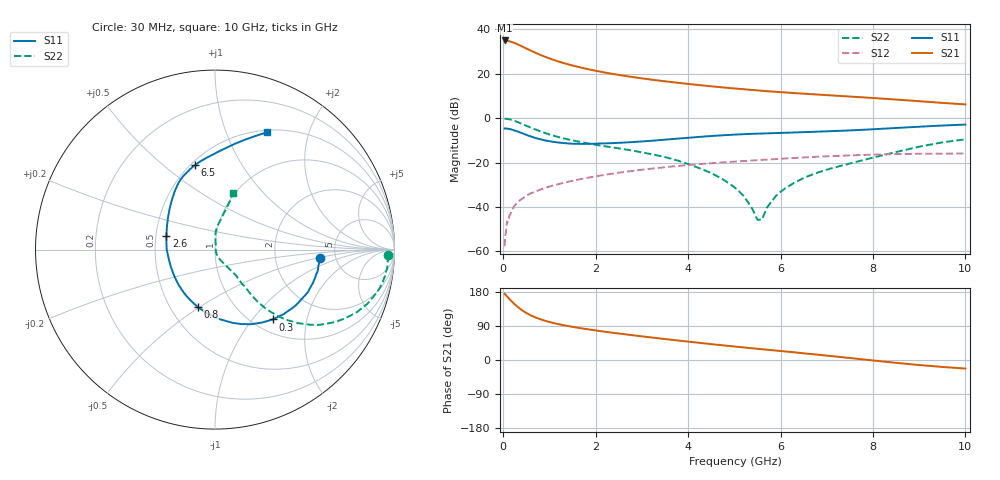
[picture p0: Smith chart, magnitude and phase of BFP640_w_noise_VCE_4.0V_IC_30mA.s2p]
! Infineon Technologies  Discrete & RF Semiconductors
! BFP640
! VCE =  4.0 V,  IC =  30 mA
! Common Emitter S-Parameters:  Apr 2013
# GHz  S  MA  R  50
!  f  S11  S21  S12  S22
! GHz  MAG  ANG  MAG  ANG  MAG  ANG  MAG  ANG
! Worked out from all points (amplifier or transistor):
!   99 points, 30 MHz to 10 GHz, reference 50 ohm
!   highest |S21| = 35.0 dB at 30 MHz (marker M1)
!   |S21| within 3 dB of that: start of sweep to 438.3 MHz
!   unconditionally stable (mu >= 1): 2.233 GHz to end of sweep
!   at 350 MHz: K = 0.39, MSG = 35.1 dB, |S12| = -37.2 dB
!   at 3.5 GHz: K = 1.05, MAG = 18.0 dB, |S12| = -22.1 dB
!   at 10 GHz: K = 1.06, MAG = 9.5 dB, |S12| = -15.9 dB
!   lowest NFmin = 1.07 dB at 450 MHz
!   S11 on the Smith chart (normalised r, x): 30 MHz: 3.74, -0.53; 300 MHz: 1.22, -1.27; 800 MHz: 0.68, -0.49; 2.6 GHz: 0.57, +0.09; 6.5 GHz: 0.53, +0.65; 10 GHz: 0.52, +1.41
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0.03  0.5849 -4.6  56.4 174.7  0.0013 65.8  0.9619 -1.9
0.08  0.5797 -14.1  55.42 168.2  0.0047 64.2  0.9588 -7.7
0.15  0.5643 -26.4  53.35 159.0  0.0066 74.0  0.9324 -14.9
0.25  0.5255 -43.0  49.2 146.8  0.0109 70.4  0.8647 -23.7
0.3  0.505 -50.4  46.64 141.5  0.012 70.1  0.8247 -27.4
0.4  0.4614 -64.3  41.74 132.0  0.015 67.3  0.7467 -33.6
0.5  0.4197 -76.5  37.18 124.2  0.0176 65.7  0.6738 -38.4
0.6  0.3855 -87.5  33.14 117.6  0.0203 63.9  0.6105 -42.0
0.7  0.3567 -97.4  29.7 112.3  0.0222 62.8  0.5545 -44.7
0.8  0.3345 -106.5  26.77 107.7  0.0244 61.9  0.5061 -46.7
1  0.3019 -122.7  22.21 100.4  0.0287 60.8  0.429 -49.4
1.2  0.2813 -136.5  18.88 94.5  0.0326 60.0  0.3731 -50.7
1.7  0.2625 -163.6  13.66 83.5  0.0428 57.9  0.2858 -51.1
2.1  0.2687 -179.5  11.16 76.3  0.0508 55.4  0.2414 -51.8
2.6  0.2809 164.3  9.072 68.4  0.0607 52.1  0.2003 -51.2
3.4  0.3211 144.2  6.967 56.7  0.0763 45.9  0.1394 -53.3
5.1  0.4298 117.1  4.575 34.4  0.1065 31.6  0.0225 -69.8
5.6  0.4508 112.0  4.142 28.4  0.1145 27.4  0.0052 27.7
6.5  0.4839 103.3  3.563 17.7  0.1299 19.5  0.0447 85.8
6.7  0.4918 101.1  3.456 15.3  0.1329 17.7  0.0542 86.8
8.5  0.6003 79.3  2.625 -7.5  0.1549 -0.3  0.1723 79.1
10  0.7163 66.0  2.039 -22.6  0.1597 -12.2  0.333 72.2
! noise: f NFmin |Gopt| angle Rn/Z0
0.45  1.07  0.19  -171  0.03
0.9  1.08  0.2  -159  0.04
1.5  1.09  0.23  -144  0.06
1.9  1.1  0.24  -135  0.07
2.4  1.13  0.27  -122  0.09
3.5  1.26  0.31  -105  0.13
5.5  1.46  0.33  -92  0.21
10  1.93  0.6  -52  0.58
